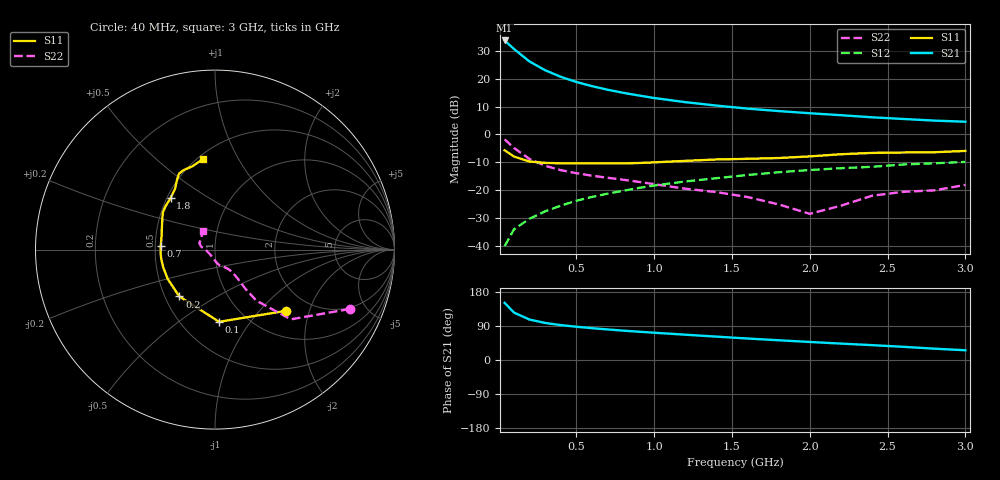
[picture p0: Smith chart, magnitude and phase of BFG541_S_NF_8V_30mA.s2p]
! Filename:  BFG541J.S2P  Version:  3.0
! Philips part #: BFG541  Date: Feb 1992
! Bias condition: Vce=8V, Ic=30mA
#  MHz  S  MA  R  50
! Freq  S11  S21  S12  S22  !GUM [dB]
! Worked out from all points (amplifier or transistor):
!   21 points, 40 MHz to 3 GHz, reference 50 ohm
!   highest |S21| = 33.7 dB at 40 MHz (marker M1)
!   |S21| within 3 dB of that: start of sweep to 99.02 MHz
!   unconditionally stable (mu >= 1): 535.3 MHz to 2.972 GHz
!   at 300 MHz: K = 0.91, MSG = 25.3 dB, |S12| = -27.5 dB
!   at 1 GHz: K = 1.05, MAG = 14.3 dB, |S12| = -18.3 dB
!   at 3 GHz: K = 1.00, MSG = 7.2 dB, |S12| = -9.8 dB
!   lowest NFmin = 1.70 dB at 900 MHz
!   S11 on the Smith chart (normalised r, x): 40 MHz: 1.51, -1.41; 100 MHz: 0.75, -0.72; 200 MHz: 0.59, -0.35; 700 MHz: 0.54, +0.02; 1.8 GHz: 0.52, +0.35; 3 GHz: 0.53, +0.72
40  0.522 -40.8  48.32 150.9  0.01 73.6  0.82 -23.8
100  0.403 -86.7  34.01 125.2  0.02 65.9  0.574 -42.6
200  0.328 -127.3  20.29 106.7  0.031 66.7  0.365 -51.0
300  0.31 -148.1  14.17 97.8  0.042 69.2  0.276 -52.2
400  0.305 -161.0  10.81 92.1  0.053 70.6  0.23 -52.0
500  0.304 -170.1  8.74 87.8  0.065 71.1  0.203 -51.9
600  0.304 -177.1  7.354 84.0  0.076 71.4  0.183 -52.1
700  0.303 176.6  6.35 80.7  0.087 70.9  0.168 -52.4
800  0.304 170.5  5.594 77.5  0.098 70.5  0.155 -53.0
900  0.308 164.7  4.996 74.7  0.11 69.9  0.142 -54.2
1000  0.317 159.2  4.507 72.0  0.122 69.0  0.129 -56.2
1200  0.337 150.7  3.797 66.8  0.144 67.1  0.107 -63.0
1400  0.357 144.6  3.297 61.7  0.165 64.9  0.093 -72.6
1600  0.367 138.4  2.907 56.7  0.188 63.1  0.076 -81.9
1800  0.379 130.8  2.628 52.1  0.211 60.0  0.056 -93.8
2000  0.405 123.4  2.402 47.6  0.231 57.7  0.038 -131.5
2200  0.443 118.5  2.216 43.3  0.249 55.1  0.053 -179.3
2400  0.468 115.4  2.033 39.2  0.264 53.5  0.08 167.5
2600  0.476 111.7  1.897 34.8  0.29 50.1  0.094 157.4
2800  0.481 105.2  1.774 29.9  0.305 46.0  0.1 140.9
3000  0.508 97.6  1.692 25.7  0.323 44.1  0.125 122.2
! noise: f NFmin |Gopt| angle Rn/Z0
900  1.7  0.342  180  0.09
2000  2.4  0.533  -139  0.17
